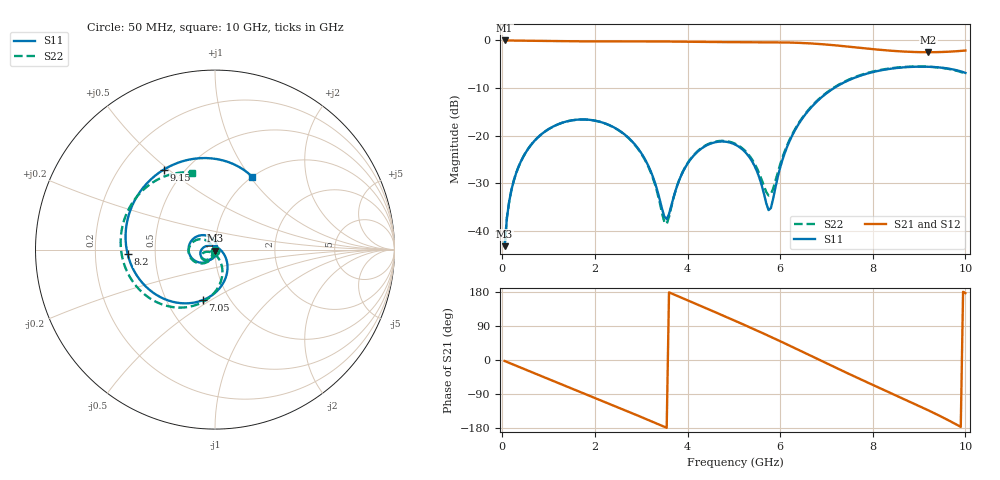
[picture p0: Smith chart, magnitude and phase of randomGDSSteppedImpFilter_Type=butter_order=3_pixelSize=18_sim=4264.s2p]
! freq	dB(S11)	phase(S11)	dB(S12)	phase(S12)
!  dB(S21)	phase(S21)	dB(S22)	phase(S22)
!S-par simulation data
#  GHz  S  DB  R 50
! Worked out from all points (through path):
!   200 points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, 50 MHz to 10 GHz, reference 50 ohm
!   highest |S21| = -0.01 dB at 50 MHz (marker M1); lowest = -2.5 dB at 9.2 GHz (marker M2)
!   group delay of S21, straight-line fit = 150 ps
!   lowest |S11| = -43.3 dB at 50 MHz (marker M3), VSWR 1.01, Z = 50 - j0.686 ohm
!   |S11| at or under -10 dB: start of sweep to 7.167 GHz
!   |S22| runs from -43.3 to -5.5 dB; largest |S21 - S12| = 0
!   S11 on the Smith chart (normalised r, x): 50 MHz: 1.00, -0.01; 7.05 GHz: 0.75, -0.46; 8.2 GHz: 0.35, -0.02; 9.15 GHz: 0.39, +0.48; 10 GHz: 1.00, +1.02
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0.05  -43.28 -90.7  -0.01 -2.6  -0.01 -2.6  -43.27 -90.5
0.2  -31.33 -100.3  -0.02 -10.2  -0.02 -10.2  -31.33 -99.6
0.5  -23.67 -116.7  -0.05 -25.3  -0.05 -25.3  -23.67 -114.8
1.15  -17.87 -150.8  -0.14 -57.7  -0.14 -57.7  -17.87 -146.1
1.75  -16.62 177.7  -0.19 -87.5  -0.19 -87.5  -16.63 -174.4
2.8  -21.21 118.3  -0.20 -140.2  -0.20 -140.2  -21.28 138.9
3.4  -33.49 56.0  -0.21 -171.1  -0.21 -171.1  -34.12 138.5
3.55  -37.57 -9.0  -0.22 -178.9  -0.22 -178.9  -38.60 -165.2
3.8  -29.90 -83.5  -0.25 168.1  -0.25 168.1  -29.85 -117.5
4.1  -24.59 -111.8  -0.28 152.4  -0.28 152.4  -24.49 -121.7
5.05  -22.01 -174.4  -0.37 102.2  -0.37 102.2  -21.83 -158.1
5.45  -26.45 153.2  -0.37 80.5  -0.37 80.5  -25.97 -165.9
5.75  -35.69 74.0  -0.38 63.8  -0.38 63.8  -32.62 -123.6
6.15  -22.38 -37.5  -0.43 41.0  -0.43 41.0  -22.06 -66.1
6.7  -13.76 -79.9  -0.66 9.0  -0.66 9.0  -13.62 -84.8
7.05  -10.77 -103.5  -0.91 -11.5  -0.91 -11.5  -10.64 -101.8
7.65  -7.69 -142.3  -1.49 -46.0  -1.49 -46.0  -7.57 -132.1
8.2  -6.25 -176.9  -2.01 -76.7  -2.01 -76.7  -6.14 -159.5
8.35  -6.00 173.8  -2.14 -85.0  -2.14 -85.0  -5.91 -166.9
9.15  -5.53 122.7  -2.48 -129.9  -2.48 -129.9  -5.51 153.5
9.2  -5.54 119.4  -2.48 -132.8  -2.48 -132.8  -5.53 150.9
10  -6.83 62.8  -2.12 176.5  -2.12 176.5  -6.98 106.6
